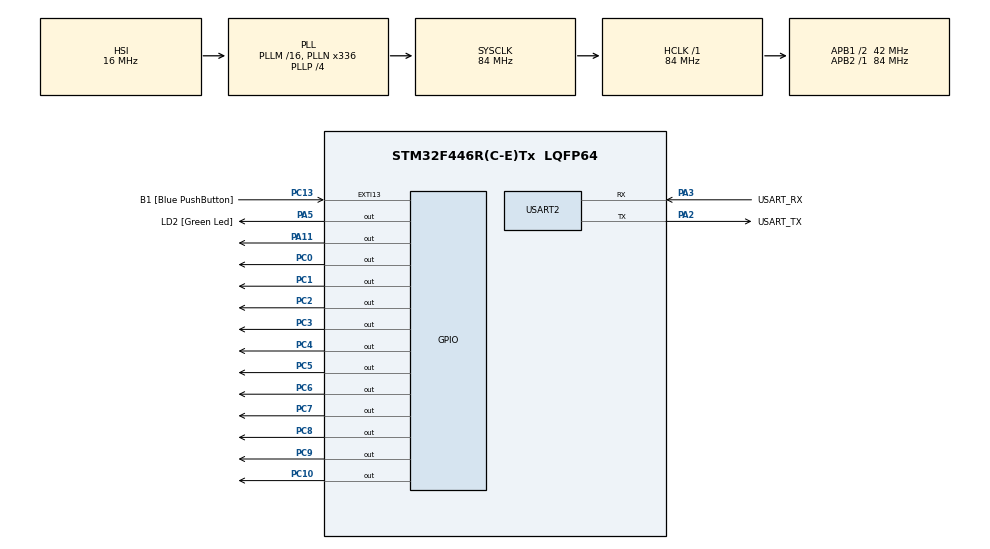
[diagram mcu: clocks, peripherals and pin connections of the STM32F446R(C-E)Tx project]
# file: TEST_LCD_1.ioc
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Mcu.Family=STM32F4
Mcu.Name=STM32F446R(C-E)Tx
Mcu.Package=LQFP64
NVIC.PriorityGroup=NVIC_PRIORITYGROUP_0
PA11.Signal=GPIO_Output
PA13.GPIO_Label=TMS
PA13.Mode=Serial_Wire
PA13.Signal=SYS_JTMS-SWDIO
PA14.GPIO_Label=TCK
PA14.Mode=Serial_Wire
PA14.Signal=SYS_JTCK-SWCLK
PA2.GPIO_Label=USART_TX
PA2.Mode=Asynchronous
PA2.Signal=USART2_TX
PA3.GPIO_Label=USART_RX
PA3.Mode=Asynchronous
PA3.Signal=USART2_RX
PA5.GPIO_Label=LD2 [Green Led]
PA5.Signal=GPIO_Output
PB3.GPIO_Label=SWO
PB3.Signal=SYS_JTDO-SWO
PC0.Signal=GPIO_Output
PC1.Signal=GPIO_Output
PC10.Signal=GPIO_Output
PC13.GPIO_Label=B1 [Blue PushButton]
PC13.GPIO_ModeDefaultEXTI=GPIO_MODE_IT_FALLING
PC13.Signal=GPXTI13
PC14-OSC32_IN.Mode=LSE-External-Oscillator
PC14-OSC32_IN.Signal=RCC_OSC32_IN
PC15-OSC32_OUT.Mode=LSE-External-Oscillator
PC15-OSC32_OUT.Signal=RCC_OSC32_OUT
PC2.Signal=GPIO_Output
PC3.Signal=GPIO_Output
PC4.Signal=GPIO_Output
PC5.Signal=GPIO_Output
PC6.Signal=GPIO_Output
PC7.Signal=GPIO_Output
PC8.Signal=GPIO_Output
PC9.Signal=GPIO_Output
PH0-OSC_IN.Mode=HSE-External-Oscillator
PH0-OSC_IN.Signal=RCC_OSC_IN
PH1-OSC_OUT.Mode=HSE-External-Oscillator
PH1-OSC_OUT.Signal=RCC_OSC_OUT
ProjectManager.HeapSize=0x200
ProjectManager.StackSize=0x400
ProjectManager.TargetToolchain=STM32CubeIDE
RCC.48MHZClocksFreq_Value=84000000
RCC.AHBFreq_Value=84000000
RCC.APB1CLKDivider=RCC_HCLK_DIV2
RCC.APB1Freq_Value=42000000
RCC.APB1TimFreq_Value=84000000
RCC.APB2Freq_Value=84000000
RCC.APB2TimFreq_Value=84000000
RCC.CortexFreq_Value=84000000
RCC.FLatency-AdvancedSettings=FLASH_LATENCY_2
RCC.HCLKFreq_Value=84000000
RCC.HSE_VALUE=8000000
RCC.HSI_VALUE=16000000
RCC.PLLN=336
RCC.PLLP=RCC_PLLP_DIV4
RCC.SYSCLKFreq_VALUE=84000000
RCC.SYSCLKSource=RCC_SYSCLKSOURCE_PLLCLK
RCC.USBFreq_Value=168000000
RCC.VCOOutputFreq_Value=336000000
USART2.VirtualMode=VM_ASYNC
board=NUCLEO-F446RE

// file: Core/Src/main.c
/* USER CODE BEGIN Header */
/**
  ******************************************************************************
  * @file           : main.c
  * @brief          : Main program body
  ******************************************************************************
  * @attention
  *
  * Copyright (c) 2023 STMicroelectronics.
  * All rights reserved.
  *
  * This software is licensed under terms that can be found in the LICENSE file
  * in the root directory of this software component.
  * If no LICENSE file comes with this software, it is provided AS-IS.
  *
  ******************************************************************************
  */
/* USER CODE END Header */
#include "main.h"

/* USER CODE BEGIN PTD */
typedef union{

	struct {
		uint8_t b0:1;
		uint8_t b1:1;
		uint8_t b2:1;
		uint8_t b3:1;
		uint8_t b4:1;
		uint8_t b5:1;
		uint8_t b6:1;
		uint8_t b7:1;

	};

	struct{
		uint8_t nib1:4;
		uint8_t nib2:4;
	};

	char x;
}Typedef_LCD_Bit;

/* USER CODE END PTD */

/* USER CODE BEGIN PM */

// Define the GPIO pins used to interface with the LCD
#define LCD_RS_Pin    GPIO_PIN_0
#define LCD_RS_Port   GPIOC

#define LCD_RW_Pin    GPIO_PIN_1
#define LCD_RW_Port   GPIOC

#define LCD_EN_Pin    GPIO_PIN_2
#define LCD_EN_Port   GPIOC

#define LCD_D0_Pin    GPIO_PIN_3
#define LCD_D0_Port   GPIOC

#define LCD_D1_Pin    GPIO_PIN_4
#define LCD_D1_Port   GPIOC

#define LCD_D2_Pin    GPIO_PIN_5
#define LCD_D2_Port   GPIOC

#define LCD_D3_Pin    GPIO_PIN_6
#define LCD_D3_Port   GPIOC

#define LCD_D4_Pin    GPIO_PIN_7
#define LCD_D4_Port   GPIOC

#define LCD_D5_Pin    GPIO_PIN_8
#define LCD_D5_Port   GPIOC

#define LCD_D6_Pin    GPIO_PIN_9
#define LCD_D6_Port   GPIOC

#define LCD_D7_Pin    GPIO_PIN_10
#define LCD_D7_Port   GPIOC

// Function prototypes

// Initialize the LCD

/* USER CODE END PM */

UART_HandleTypeDef huart2;

void SystemClock_Config(void);
static void MX_GPIO_Init(void);
static void MX_USART2_UART_Init(void);
/* USER CODE BEGIN PFP */
void LCD_Initialize(void);
void LCD_Send_Byte(char byte);
void LCD_WriteCommand(char cmd);
void LCD_WriteData(char data);
void LCD_WriteString(char *ptr);
void LCD_Location(uint8_t row, uint8_t col);
/* USER CODE END PFP */

int main(void)
{
  /* USER CODE BEGIN 1 */
	LCD_Initialize();

  /* USER CODE END 1 */

  /* MCU Configuration--------------------------------------------------------*/

  /* Reset of all peripherals, Initializes the Flash interface and the Systick. */
  HAL_Init();

  /* Configure the system clock */
  SystemClock_Config();

  /* Initialize all configured peripherals */
  MX_GPIO_Init();
  MX_USART2_UART_Init();
  /* USER CODE BEGIN 2 */
	LCD_WriteCommand(0X80);
	LCD_WriteData('A');
  /* USER CODE END 2 */

  /* Infinite loop */
  while (1)
  {

  }
}

void LCD_Send_Byte(char byte){

	Typedef_LCD_Bit y = (Typedef_LCD_Bit)byte;

	HAL_GPIO_WritePin(LCD_D0_Port, LCD_D0_Pin, y.b0);
	HAL_GPIO_WritePin(LCD_D1_Port, LCD_D1_Pin, y.b1);
	HAL_GPIO_WritePin(LCD_D2_Port, LCD_D2_Pin, y.b2);
	HAL_GPIO_WritePin(LCD_D3_Port, LCD_D3_Pin, y.b3);
	HAL_GPIO_WritePin(LCD_D4_Port, LCD_D4_Pin, y.b4);
	HAL_GPIO_WritePin(LCD_D5_Port, LCD_D5_Pin, y.b5);
	HAL_GPIO_WritePin(LCD_D6_Port, LCD_D6_Pin, y.b6);
	HAL_GPIO_WritePin(LCD_D7_Port, LCD_D7_Pin, y.b7);

}

void LCD_Initialize(void){

	LCD_WriteCommand(0x01);
	LCD_WriteCommand(0x02);
	LCD_WriteCommand(0x06);
	LCD_WriteCommand(0x38);
	LCD_WriteCommand(0x0c);
}
void LCD_WriteCommand(char cmd){

	LCD_Send_Byte(cmd);
	HAL_GPIO_WritePin(LCD_RS_Port, LCD_RS_Pin, RESET);
	HAL_GPIO_WritePin(LCD_RW_Port, LCD_RW_Pin, RESET);
	HAL_GPIO_WritePin(LCD_EN_Port, LCD_EN_Pin, SET);
	HAL_Delay(2);
	HAL_GPIO_WritePin(LCD_EN_Port, LCD_EN_Pin, RESET);
	HAL_Delay(2);
}
void LCD_WriteData(char data){

	LCD_Send_Byte(data);
	HAL_GPIO_WritePin(LCD_RS_Port, LCD_RS_Pin, SET);
	HAL_GPIO_WritePin(LCD_RW_Port, LCD_RW_Pin, RESET);
	HAL_GPIO_WritePin(LCD_EN_Port, LCD_EN_Pin, SET);
	HAL_Delay(2);
	HAL_GPIO_WritePin(LCD_EN_Port, LCD_EN_Pin, RESET);
	HAL_Delay(2);
}
void LCD_WriteString(char *ptr){

	while(*ptr){
		LCD_WriteData(*ptr++);
	}
}
void LCD_Location(uint8_t row, uint8_t col){

	if(row == 2){
		LCD_WriteCommand(0xc0 | col);
	}
	else{

		LCD_WriteCommand(0x80 | col);
	}
}
void SystemClock_Config(void)
{
  RCC_OscInitTypeDef RCC_OscInitStruct = {0};
  RCC_ClkInitTypeDef RCC_ClkInitStruct = {0};

  /** Configure the main internal regulator output voltage
  */
  __HAL_RCC_PWR_CLK_ENABLE();
  __HAL_PWR_VOLTAGESCALING_CONFIG(PWR_REGULATOR_VOLTAGE_SCALE3);

  /** Initializes the RCC Oscillators according to the specified parameters
  * in the RCC_OscInitTypeDef structure.
  */
  RCC_OscInitStruct.OscillatorType = RCC_OSCILLATORTYPE_HSI;
  RCC_OscInitStruct.HSIState = RCC_HSI_ON;
  RCC_OscInitStruct.HSICalibrationValue = RCC_HSICALIBRATION_DEFAULT;
  RCC_OscInitStruct.PLL.PLLState = RCC_PLL_ON;
  RCC_OscInitStruct.PLL.PLLSource = RCC_PLLSOURCE_HSI;
  RCC_OscInitStruct.PLL.PLLM = 16;
  RCC_OscInitStruct.PLL.PLLN = 336;
  RCC_OscInitStruct.PLL.PLLP = RCC_PLLP_DIV4;
  RCC_OscInitStruct.PLL.PLLQ = 2;
  RCC_OscInitStruct.PLL.PLLR = 2;
  if (HAL_RCC_OscConfig(&RCC_OscInitStruct) != HAL_OK)
  {
    Error_Handler();
  }

  /** Initializes the CPU, AHB and APB buses clocks
  */
  RCC_ClkInitStruct.ClockType = RCC_CLOCKTYPE_HCLK|RCC_CLOCKTYPE_SYSCLK
                              |RCC_CLOCKTYPE_PCLK1|RCC_CLOCKTYPE_PCLK2;
  RCC_ClkInitStruct.SYSCLKSource = RCC_SYSCLKSOURCE_PLLCLK;
  RCC_ClkInitStruct.AHBCLKDivider = RCC_SYSCLK_DIV1;
  RCC_ClkInitStruct.APB1CLKDivider = RCC_HCLK_DIV2;
  RCC_ClkInitStruct.APB2CLKDivider = RCC_HCLK_DIV1;

  if (HAL_RCC_ClockConfig(&RCC_ClkInitStruct, FLASH_LATENCY_2) != HAL_OK)
  {
    Error_Handler();
  }
}

static void MX_USART2_UART_Init(void)
{

  huart2.Instance = USART2;
  huart2.Init.BaudRate = 115200;
  huart2.Init.WordLength = UART_WORDLENGTH_8B;
  huart2.Init.StopBits = UART_STOPBITS_1;
  huart2.Init.Parity = UART_PARITY_NONE;
  huart2.Init.Mode = UART_MODE_TX_RX;
  huart2.Init.HwFlowCtl = UART_HWCONTROL_NONE;
  huart2.Init.OverSampling = UART_OVERSAMPLING_16;
  if (HAL_UART_Init(&huart2) != HAL_OK)
  {
    Error_Handler();
  }

}

static void MX_GPIO_Init(void)
{
  GPIO_InitTypeDef GPIO_InitStruct = {0};

  /* GPIO Ports Clock Enable */
  __HAL_RCC_GPIOC_CLK_ENABLE();
  __HAL_RCC_GPIOH_CLK_ENABLE();
  __HAL_RCC_GPIOA_CLK_ENABLE();
  __HAL_RCC_GPIOB_CLK_ENABLE();

  /*Configure GPIO pin Output Level */
  HAL_GPIO_WritePin(GPIOC, GPIO_PIN_0|GPIO_PIN_1|GPIO_PIN_2|GPIO_PIN_3
                          |GPIO_PIN_4|GPIO_PIN_5|GPIO_PIN_6|GPIO_PIN_7
                          |GPIO_PIN_8|GPIO_PIN_9|GPIO_PIN_10, GPIO_PIN_RESET);

  /*Configure GPIO pin Output Level */
  HAL_GPIO_WritePin(GPIOA, LD2_Pin|GPIO_PIN_11, GPIO_PIN_RESET);

  /*Configure GPIO pin : B1_Pin */
  GPIO_InitStruct.Pin = B1_Pin;
  GPIO_InitStruct.Mode = GPIO_MODE_IT_FALLING;
  GPIO_InitStruct.Pull = GPIO_NOPULL;
  HAL_GPIO_Init(B1_GPIO_Port, &GPIO_InitStruct);

  /*Configure GPIO pins : PC0 PC1 PC2 PC3
                           PC4 PC5 PC6 PC7
                           PC8 PC9 PC10 */
  GPIO_InitStruct.Pin = GPIO_PIN_0|GPIO_PIN_1|GPIO_PIN_2|GPIO_PIN_3
                          |GPIO_PIN_4|GPIO_PIN_5|GPIO_PIN_6|GPIO_PIN_7
                          |GPIO_PIN_8|GPIO_PIN_9|GPIO_PIN_10;
  GPIO_InitStruct.Mode = GPIO_MODE_OUTPUT_PP;
  GPIO_InitStruct.Pull = GPIO_NOPULL;
  GPIO_InitStruct.Speed = GPIO_SPEED_FREQ_LOW;
  HAL_GPIO_Init(GPIOC, &GPIO_InitStruct);

  /*Configure GPIO pins : LD2_Pin PA11 */
  GPIO_InitStruct.Pin = LD2_Pin|GPIO_PIN_11;
  GPIO_InitStruct.Mode = GPIO_MODE_OUTPUT_PP;
  GPIO_InitStruct.Pull = GPIO_NOPULL;
  GPIO_InitStruct.Speed = GPIO_SPEED_FREQ_LOW;
  HAL_GPIO_Init(GPIOA, &GPIO_InitStruct);

}

void Error_Handler(void)
{
  __disable_irq();
  while (1)
  {
  }
}
